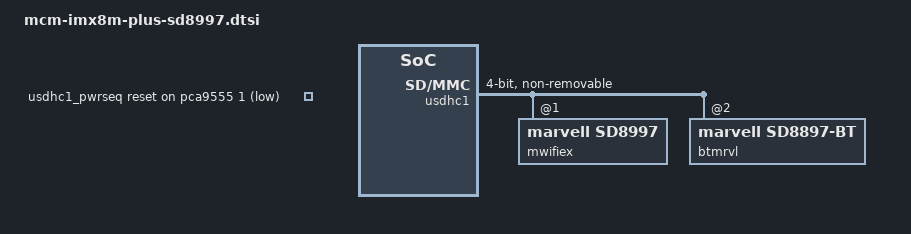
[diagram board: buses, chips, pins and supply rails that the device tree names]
&{/} {
	usdhc1_pwrseq: usdhc1_pwrseq {
		compatible = "mmc-pwrseq-simple";
		reset-gpios = <&pca9555 1 GPIO_ACTIVE_LOW>;
	};
};

&iomuxc {

	pinctrl_usdhc1: usdhc1grp {
		fsl,pins = <
			MX8MP_IOMUXC_SD1_CLK__USDHC1_CLK	0x190
			MX8MP_IOMUXC_SD1_CMD__USDHC1_CMD	0x1d0
			MX8MP_IOMUXC_SD1_DATA0__USDHC1_DATA0	0x1d0
			MX8MP_IOMUXC_SD1_DATA1__USDHC1_DATA1	0x1d0
			MX8MP_IOMUXC_SD1_DATA2__USDHC1_DATA2	0x1d0
			MX8MP_IOMUXC_SD1_DATA3__USDHC1_DATA3	0x1d0
		>;
	};

	pinctrl_usdhc1_100mhz: usdhc1grp-100mhz {
		fsl,pins = <
			MX8MP_IOMUXC_SD1_CLK__USDHC1_CLK	0x194
			MX8MP_IOMUXC_SD1_CMD__USDHC1_CMD	0x1d4
			MX8MP_IOMUXC_SD1_DATA0__USDHC1_DATA0	0x1d4
			MX8MP_IOMUXC_SD1_DATA1__USDHC1_DATA1	0x1d4
			MX8MP_IOMUXC_SD1_DATA2__USDHC1_DATA2	0x1d4
			MX8MP_IOMUXC_SD1_DATA3__USDHC1_DATA3	0x1d4
		>;
	};

	pinctrl_usdhc1_200mhz: usdhc1grp-200mhz {
		fsl,pins = <
			MX8MP_IOMUXC_SD1_CLK__USDHC1_CLK	0x196
			MX8MP_IOMUXC_SD1_CMD__USDHC1_CMD	0x1d6
			MX8MP_IOMUXC_SD1_DATA0__USDHC1_DATA0	0x1d6
			MX8MP_IOMUXC_SD1_DATA1__USDHC1_DATA1	0x1d6
			MX8MP_IOMUXC_SD1_DATA2__USDHC1_DATA2	0x1d6
			MX8MP_IOMUXC_SD1_DATA3__USDHC1_DATA3	0x1d6
		>;
	};

};

&usdhc1 {
	#address-cells = <1>;
	#size-cells = <0>;
	assigned-clocks = <&clk IMX8MP_CLK_USDHC1>;
	assigned-clock-rates = <400000000>;
	pinctrl-names = "default", "state_100mhz", "state_200mhz";
	pinctrl-0 = <&pinctrl_usdhc1>;
	pinctrl-1 = <&pinctrl_usdhc1_100mhz>;
	pinctrl-2 = <&pinctrl_usdhc1_200mhz>;
	mmc-pwrseq = <&usdhc1_pwrseq>;
	bus-width = <4>;
	non-removable;
	keep-power-in-suspend;
	no-1-8-v;
	status = "okay";

	mwifiex: wifi@1 {
		compatible = "marvell,sd8997";
		reg = <1>;
	};

	btmrvl: btmrvl@2 {
		compatible = "marvell,sd8897-bt";
		reg = <2>;
	};
};

